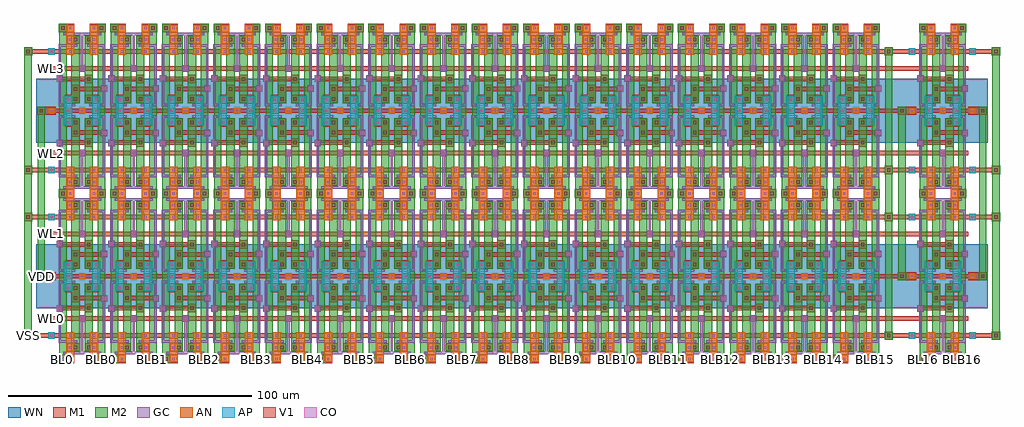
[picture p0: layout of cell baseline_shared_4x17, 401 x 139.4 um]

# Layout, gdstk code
import gdstk
lib = gdstk.Library(unit=1e-6, precision=1e-07)
def R(c, l, rs):  # rectangles x0, y0, x1, y1
    for r in rs: c.add(gdstk.rectangle(r[:2], r[2:], *l))
def A(c, l, x, y, w, h, nx, ny, dx, dy):  # array of equal rectangles
    R(c, l, [(x+i*dx, y+j*dy, x+i*dx+w, y+j*dy+h) for i in range(nx) for j in range(ny)])
AP = (3, 1)
AN = (3, 2)
GC = (8, 1)
CO = (11, 0)
M1 = (13, 0)
V1 = (19, 0)
M2 = (20, 0)
WN = (140, 0)

sram_dense = lib.new_cell('sram_dense')
R(sram_dense, AP, [(3.3,27.9,6.7,35.3), (14.9,27.9,18.3,35.3)])
R(sram_dense, AN, [(4.2,-1.3,7.6,10.9), (14,-1.3,17.4,10.9), (9.5,32.7,12.1,35.3)])
R(sram_dense, GC, [(3,1.9,8.8,2.9), (5.4,1.9,16.2,2.9), (10.3,1.9,11.3,17.1), (12.8,1.9,18.6,2.9), (1.1,6.7,6.4,7.7), (1.1,6.7,2.1,32.1), (3,6.7,8.8,7.7), (12.8,6.7,18.6,7.7), (15.2,6.7,20.3,7.7), (19.3,6.7,20.3,32.1), (9.5,15.3,12.1,17.9), (0.3,19.5,2.9,22.1), (18.5,23.5,21.1,26.1), (1.1,31.1,5.5,32.1), (2.1,31.1,7.9,32.1), (13.7,31.1,19.5,32.1), (16.1,31.1,20.3,32.1)])
A(sram_dense, CO, 5.4, -0.5, 1, 1, 1, 3, 0, 4.8)
A(sram_dense, CO, 15.2, -0.5, 1, 1, 1, 3, 0, 4.8)
A(sram_dense, CO, 4.5, 33.5, 1, 1, 3, 1, 5.8, 0)
R(sram_dense, CO, [(10.3,16.1,11.3,17.1), (1.1,20.3,2.1,21.3), (19.3,24.3,20.3,25.3), (4.5,28.7,5.5,29.7), (16.1,28.7,17.1,29.7)])
A(sram_dense, M1, 4.6, -1.3, 2.6, 2.6, 1, 3, 0, 4.8)
A(sram_dense, M1, 14.4, -1.3, 2.6, 2.6, 1, 3, 0, 4.8)
A(sram_dense, M1, 3.7, 32.7, 2.6, 2.6, 3, 1, 5.8, 0)
R(sram_dense, M1, [(1.2,-1.7,7.6,1.7), (1.2,-1.7,4.6,1.7), (14,-1.7,20.4,1.7), (17,-1.7,20.4,1.7), (4.6,3.1,9.4,6.5), (6.4,3.1,9.8,6.5), (11.8,3.1,15.2,6.5), (12.2,3.1,17,6.5), (0,8.7,21.2,10.5), (9.5,15.3,12.1,17.9), (0,15.7,21.2,17.5), (11.8,19.3,15.2,22.7), (0.3,19.5,2.9,22.1), (0.7,20.1,14.4,21.9), (6.4,23.3,9.8,26.7), (6.4,23.3,9.8,30.9), (18.5,23.5,21.1,26.1), (7.2,24.1,20.7,25.9), (3.7,27.5,9.4,30.9), (6.4,27.5,9.8,30.9), (11.8,27.5,15.2,30.9), (12.2,27.5,17.9,30.9), (3.7,27.9,6.3,30.5), (15.3,27.9,17.9,30.5), (0,33.1,21.2,34.9)])
R(sram_dense, V1, [(2.2,-0.7,3.6,0.7), (18,-0.7,19.4,0.7), (7.4,4.1,8.8,5.5), (12.8,4.1,14.2,5.5), (12.8,20.3,14.2,21.7), (7.4,24.3,8.8,25.7), (7.4,28.5,8.8,29.9), (12.8,28.5,14.2,29.9)])
R(sram_dense, M2, [(1.2,-1.7,4.6,1.7), (1.4,-1.7,4.4,34), (17,-1.7,20.4,1.7), (17.2,-1.7,20.2,34), (6.4,3.1,9.8,6.5), (6.4,3.1,9.8,30.9), (11.8,3.1,15.2,6.5), (11.8,3.1,15.2,30.9), (11.8,19.3,15.2,22.7), (6.4,23.3,9.8,26.7), (6.4,27.5,9.8,30.9), (11.8,27.5,15.2,30.9)])
R(sram_dense, WN, [(-3.7,20.9,25.3,42.3)])

baseline_shared_4x17 = lib.new_cell('baseline_shared_4x17')
R(baseline_shared_4x17, AP, [(-3.1,8.3,-0.5,10.9), (350.5,8.3,353.1,10.9), (375.3,8.3,377.9,10.9), (-3.1,57.1,-0.5,59.7), (350.5,57.1,353.1,59.7), (375.3,57.1,377.9,59.7), (-3.1,76.3,-0.5,78.9), (350.5,76.3,353.1,78.9), (375.3,76.3,377.9,78.9), (-3.1,125.1,-0.5,127.7), (350.5,125.1,353.1,127.7), (375.3,125.1,377.9,127.7)])
R(baseline_shared_4x17, AN, [(-3.1,32.7,-0.5,35.3), (350.5,32.7,353.1,35.3), (375.3,32.7,377.9,35.3), (-3.1,100.7,-0.5,103.3), (350.5,100.7,353.1,103.3), (375.3,100.7,377.9,103.3)])
A(baseline_shared_4x17, CO, -2.3, 9.1, 1, 1, 1, 3, 0, 24.4)
A(baseline_shared_4x17, CO, 351.3, 9.1, 1, 1, 1, 3, 0, 24.4)
A(baseline_shared_4x17, CO, 376.1, 9.1, 1, 1, 1, 3, 0, 24.4)
A(baseline_shared_4x17, CO, -2.3, 77.1, 1, 1, 1, 3, 0, 24.4)
A(baseline_shared_4x17, CO, 351.3, 77.1, 1, 1, 1, 3, 0, 24.4)
A(baseline_shared_4x17, CO, 376.1, 77.1, 1, 1, 1, 3, 0, 24.4)
A(baseline_shared_4x17, M1, -3.1, 8.3, 2.6, 2.6, 1, 3, 0, 24.4)
A(baseline_shared_4x17, M1, 350.5, 8.3, 2.6, 2.6, 1, 3, 0, 24.4)
A(baseline_shared_4x17, M1, 375.3, 8.3, 2.6, 2.6, 1, 3, 0, 24.4)
A(baseline_shared_4x17, M1, 0, 8.7, 374.8, 1.8, 1, 3, 0, 24.4)
A(baseline_shared_4x17, M1, -3.1, 76.3, 2.6, 2.6, 1, 3, 0, 24.4)
A(baseline_shared_4x17, M1, 350.5, 76.3, 2.6, 2.6, 1, 3, 0, 24.4)
A(baseline_shared_4x17, M1, 375.3, 76.3, 2.6, 2.6, 1, 3, 0, 24.4)
A(baseline_shared_4x17, M1, 0, 76.7, 374.8, 1.8, 1, 3, 0, 24.4)
R(baseline_shared_4x17, M1, [(-13.1,7.9,-9.7,11.3), (340.5,7.9,343.9,11.3), (384.5,7.9,387.9,11.3), (-12.3,8.7,0.9,10.5), (341.3,8.7,354.5,10.5), (373.9,8.7,387.1,10.5), (-3,15.7,374.8,17.5), (-7.7,32.3,-0.1,35.7), (-7.7,32.3,-4.3,35.7), (345.9,32.3,353.5,35.7), (345.9,32.3,349.3,35.7), (374.9,32.3,382.5,35.7), (379.1,32.3,382.5,35.7), (-2.7,33.1,0.9,34.9), (350.9,33.1,354.5,34.9), (373.9,33.1,377.5,34.9), (-3,50.5,374.8,52.3), (-13.1,56.7,-9.7,60.1), (340.5,56.7,343.9,60.1), (384.5,56.7,387.9,60.1), (-12.3,57.5,0.9,59.3), (341.3,57.5,354.5,59.3), (373.9,57.5,387.1,59.3), (-13.1,75.9,-9.7,79.3), (340.5,75.9,343.9,79.3), (384.5,75.9,387.9,79.3), (-12.3,76.7,0.9,78.5), (341.3,76.7,354.5,78.5), (373.9,76.7,387.1,78.5), (-3,83.7,374.8,85.5), (-7.7,100.3,-0.1,103.7), (-7.7,100.3,-4.3,103.7), (345.9,100.3,353.5,103.7), (345.9,100.3,349.3,103.7), (374.9,100.3,382.5,103.7), (379.1,100.3,382.5,103.7), (-2.7,101.1,0.9,102.9), (350.9,101.1,354.5,102.9), (373.9,101.1,377.5,102.9), (-3,118.5,374.8,120.3), (-13.1,124.7,-9.7,128.1), (340.5,124.7,343.9,128.1), (384.5,124.7,387.9,128.1), (-12.3,125.5,0.9,127.3), (341.3,125.5,354.5,127.3), (373.9,125.5,387.1,127.3)])
R(baseline_shared_4x17, V1, [(-12.1,8.9,-10.7,10.3), (341.5,8.9,342.9,10.3), (385.5,8.9,386.9,10.3), (-6.7,33.3,-5.3,34.7), (346.9,33.3,348.3,34.7), (380.1,33.3,381.5,34.7), (-12.1,57.7,-10.7,59.1), (341.5,57.7,342.9,59.1), (385.5,57.7,386.9,59.1), (-12.1,76.9,-10.7,78.3), (341.5,76.9,342.9,78.3), (385.5,76.9,386.9,78.3), (-6.7,101.3,-5.3,102.7), (346.9,101.3,348.3,102.7), (380.1,101.3,381.5,102.7), (-12.1,125.7,-10.7,127.1), (341.5,125.7,342.9,127.1), (385.5,125.7,386.9,127.1)])
R(baseline_shared_4x17, M2, [(-13.1,7.9,-9.7,11.3), (-12.9,7.9,-9.9,128.1), (340.5,7.9,343.9,11.3), (340.7,7.9,343.7,128.1), (384.5,7.9,387.9,11.3), (384.7,7.9,387.7,128.1), (-7.7,32.3,-4.3,35.7), (-7.5,32.3,-4.5,103.7), (345.9,32.3,349.3,35.7), (346.1,32.3,349.1,103.7), (379.1,32.3,382.5,35.7), (379.3,32.3,382.3,103.7), (-13.1,56.7,-9.7,60.1), (340.5,56.7,343.9,60.1), (384.5,56.7,387.9,60.1), (-13.1,75.9,-9.7,79.3), (340.5,75.9,343.9,79.3), (384.5,75.9,387.9,79.3), (-7.7,100.3,-4.3,103.7), (345.9,100.3,349.3,103.7), (379.1,100.3,382.5,103.7), (-13.1,124.7,-9.7,128.1), (340.5,124.7,343.9,128.1), (384.5,124.7,387.9,128.1)])
R(baseline_shared_4x17, WN, [(-8.1,20.9,374.8,47.1), (0,20.9,382.9,47.1), (0,20.9,374.8,47.1), (-8.1,88.9,374.8,115.1), (0,88.9,382.9,115.1), (0,88.9,374.8,115.1)])
r = gdstk.Reference(sram_dense, (0,0)); r.repetition = gdstk.Repetition(16, 1, v1=(21.2,0), v2=(0,0)); baseline_shared_4x17.add(r)
baseline_shared_4x17.add(gdstk.Reference(sram_dense, (353.6,0)))
r = gdstk.Reference(sram_dense, (0,68), x_reflection=True); r.repetition = gdstk.Repetition(16, 1, v1=(21.2,0), v2=(0,0)); baseline_shared_4x17.add(r)
baseline_shared_4x17.add(gdstk.Reference(sram_dense, (353.6,68), x_reflection=True))
r = gdstk.Reference(sram_dense, (0,68)); r.repetition = gdstk.Repetition(16, 1, v1=(21.2,0), v2=(0,0)); baseline_shared_4x17.add(r)
baseline_shared_4x17.add(gdstk.Reference(sram_dense, (353.6,68)))
r = gdstk.Reference(sram_dense, (0,136), x_reflection=True); r.repetition = gdstk.Repetition(16, 1, v1=(21.2,0), v2=(0,0)); baseline_shared_4x17.add(r)
baseline_shared_4x17.add(gdstk.Reference(sram_dense, (353.6,136), x_reflection=True))
baseline_shared_4x17.add(gdstk.Label('WL0', (-2,16.6), layer=48, texttype=0))
baseline_shared_4x17.add(gdstk.Label('WL1', (-2,51.4), layer=48, texttype=0))
baseline_shared_4x17.add(gdstk.Label('WL2', (-2,84.6), layer=48, texttype=0))
baseline_shared_4x17.add(gdstk.Label('WL3', (-2,119.4), layer=48, texttype=0))
baseline_shared_4x17.add(gdstk.Label('VDD', (-6,34), layer=49, texttype=0))
baseline_shared_4x17.add(gdstk.Label('VSS', (-11.4,9.6), layer=49, texttype=0))
baseline_shared_4x17.add(gdstk.Label('BL0', (2.9,0), layer=49, texttype=0))
baseline_shared_4x17.add(gdstk.Label('BLB0', (18.7,0), layer=49, texttype=0))
baseline_shared_4x17.add(gdstk.Label('BL1', (24.1,0), layer=49, texttype=0))
baseline_shared_4x17.add(gdstk.Label('BLB1', (39.9,0), layer=49, texttype=0))
baseline_shared_4x17.add(gdstk.Label('BL2', (45.3,0), layer=49, texttype=0))
baseline_shared_4x17.add(gdstk.Label('BLB2', (61.1,0), layer=49, texttype=0))
baseline_shared_4x17.add(gdstk.Label('BL3', (66.5,0), layer=49, texttype=0))
baseline_shared_4x17.add(gdstk.Label('BLB3', (82.3,0), layer=49, texttype=0))
baseline_shared_4x17.add(gdstk.Label('BL4', (87.7,0), layer=49, texttype=0))
baseline_shared_4x17.add(gdstk.Label('BLB4', (103.5,0), layer=49, texttype=0))
baseline_shared_4x17.add(gdstk.Label('BL5', (108.9,0), layer=49, texttype=0))
baseline_shared_4x17.add(gdstk.Label('BLB5', (124.7,0), layer=49, texttype=0))
baseline_shared_4x17.add(gdstk.Label('BL6', (130.1,0), layer=49, texttype=0))
baseline_shared_4x17.add(gdstk.Label('BLB6', (145.9,0), layer=49, texttype=0))
baseline_shared_4x17.add(gdstk.Label('BL7', (151.3,0), layer=49, texttype=0))
baseline_shared_4x17.add(gdstk.Label('BLB7', (167.1,0), layer=49, texttype=0))
baseline_shared_4x17.add(gdstk.Label('BL8', (172.5,0), layer=49, texttype=0))
baseline_shared_4x17.add(gdstk.Label('BLB8', (188.3,0), layer=49, texttype=0))
baseline_shared_4x17.add(gdstk.Label('BL9', (193.7,0), layer=49, texttype=0))
baseline_shared_4x17.add(gdstk.Label('BLB9', (209.5,0), layer=49, texttype=0))
baseline_shared_4x17.add(gdstk.Label('BL10', (214.9,0), layer=49, texttype=0))
baseline_shared_4x17.add(gdstk.Label('BLB10', (230.7,0), layer=49, texttype=0))
baseline_shared_4x17.add(gdstk.Label('BL11', (236.1,0), layer=49, texttype=0))
baseline_shared_4x17.add(gdstk.Label('BLB11', (251.9,0), layer=49, texttype=0))
baseline_shared_4x17.add(gdstk.Label('BL12', (257.3,0), layer=49, texttype=0))
baseline_shared_4x17.add(gdstk.Label('BLB12', (273.1,0), layer=49, texttype=0))
baseline_shared_4x17.add(gdstk.Label('BL13', (278.5,0), layer=49, texttype=0))
baseline_shared_4x17.add(gdstk.Label('BLB13', (294.3,0), layer=49, texttype=0))
baseline_shared_4x17.add(gdstk.Label('BL14', (299.7,0), layer=49, texttype=0))
baseline_shared_4x17.add(gdstk.Label('BLB14', (315.5,0), layer=49, texttype=0))
baseline_shared_4x17.add(gdstk.Label('BL15', (320.9,0), layer=49, texttype=0))
baseline_shared_4x17.add(gdstk.Label('BLB15', (336.7,0), layer=49, texttype=0))
baseline_shared_4x17.add(gdstk.Label('BL16', (356.5,0), layer=49, texttype=0))
baseline_shared_4x17.add(gdstk.Label('BLB16', (372.3,0), layer=49, texttype=0))

lib.write_gds('baseline_shared_4x17.gds')
